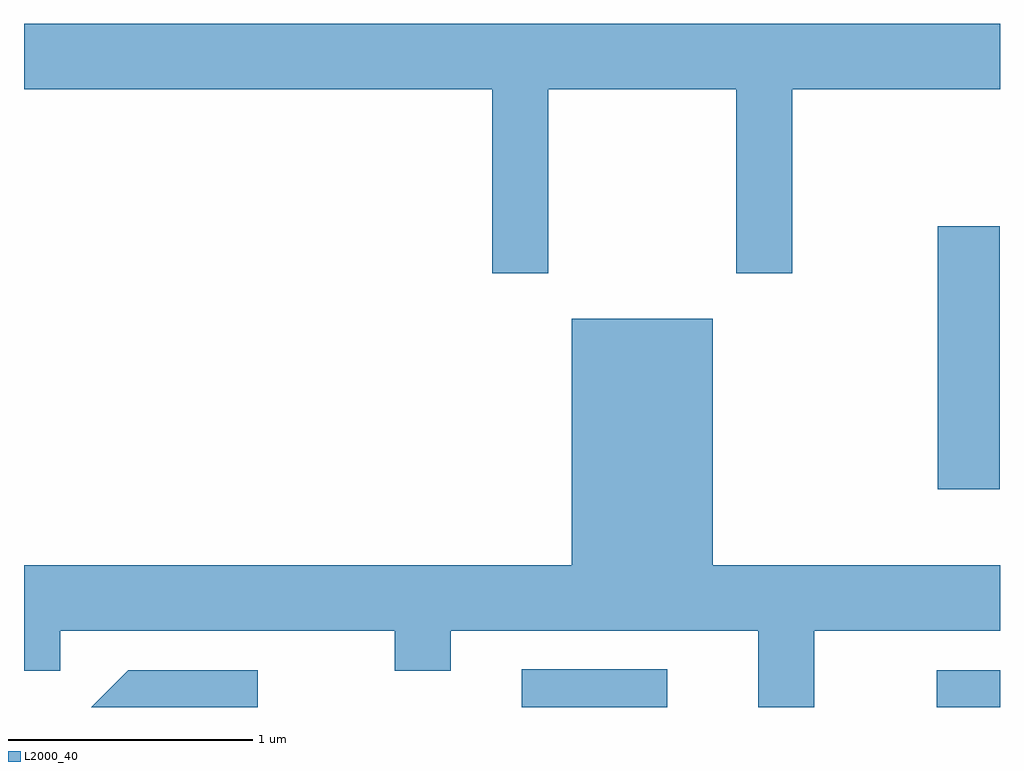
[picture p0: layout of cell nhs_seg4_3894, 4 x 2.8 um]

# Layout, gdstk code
import gdstk
lib = gdstk.Library(unit=1e-6, precision=1e-09)
def R(c, l, rs):  # rectangles x0, y0, x1, y1
    for r in rs: c.add(gdstk.rectangle(r[:2], r[2:], *l))
def P(c, l, *ps):  # polygons
    for p in ps: c.add(gdstk.Polygon(p, *l))
L2000_40 = (2000, 40)

nhs_seg4_3894 = lib.new_cell('nhs_seg4_3894')
R(nhs_seg4_3894, L2000_40, [(301.651,1289.982,302.248,1290.139), (303.351,1289.982,303.611,1290.134), (303.356,1290.876,303.609,1291.954)])
P(nhs_seg4_3894, L2000_40, [(301.759,1292.516),(302.531,1292.516),(302.531,1291.761),(302.759,1291.761),(302.759,1292.516),(303.611,1292.516),(303.611,1292.784),(299.611,1292.784),(299.611,1292.516),(301.531,1292.516),(301.531,1291.761),(301.759,1291.761)],
  [(302.849,1290.296),(303.611,1290.296),(303.611,1290.564),(302.434,1290.564),(302.434,1291.574),(301.856,1291.574),(301.856,1290.564),(299.611,1290.564),(299.611,1290.131),(299.759,1290.131),(299.759,1290.296),(301.131,1290.296),(301.131,1290.131),(301.359,1290.131),(301.359,1290.296),(302.621,1290.296),(302.621,1289.982),(302.849,1289.982)],
  [(300.568,1290.134),(300.039,1290.134),(299.886,1289.982),(300.568,1289.982)])

lib.write_gds('nhs_seg4_3894.gds')
